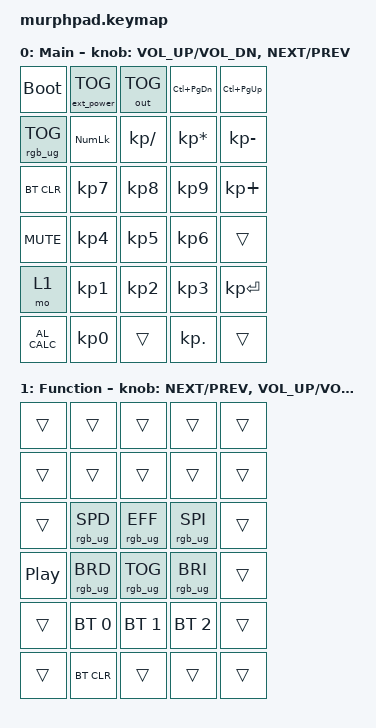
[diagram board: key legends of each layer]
/*
 * Copyright (c) 2021 The ZMK Contributors
 *
 * SPDX-License-Identifier: MIT
 */

#include <behaviors.dtsi>
#include <dt-bindings/zmk/keys.h>
#include <dt-bindings/zmk/bt.h>
#include <dt-bindings/zmk/rgb.h>
#include <dt-bindings/zmk/outputs.h>
#include <dt-bindings/zmk/ext_power.h>

#define TIMEOUT 300

&encoder_1 {
    status = "okay";
};

&encoder_2 {
    status = "okay";
};

/ {
    sensors {
        compatible = "zmk,keymap-sensors";
        sensors = <&encoder_1 &encoder_2>;
    };

    keymap0: keymap {
        compatible = "zmk,keymap";

        default_layer {
            label = "Main";
            bindings = <
                &bootloader         &ext_power EP_TOG  &out OUT_TOG    &kp LC(PG_DN)     &kp LC(PG_UP)  
                &rgb_ug RGB_TOG     &kp KP_NUM         &kp KP_DIVIDE   &kp KP_MULTIPLY   &kp KP_MINUS    
                &bt BT_CLR          &kp KP_N7          &kp KP_N8       &kp KP_N9         &kp KP_PLUS   
                &kp C_MUTE          &kp KP_N4          &kp KP_N5       &kp KP_N6         &trans  
                &mo 1               &kp KP_N1          &kp KP_N2       &kp KP_N3         &kp KP_ENTER    
                &kp C_AL_CALC       &kp KP_N0          &trans          &kp KP_DOT        &trans  
            >;
            sensor-bindings = <&inc_dec_kp C_VOL_UP C_VOL_DN &inc_dec_kp C_NEXT C_PREV>;

        }; 
        
        fn_layer {
            label = "Function";
            bindings = <
                &trans      &trans          &trans             &trans          &trans 
                &trans      &trans          &trans             &trans          &trans     
                &trans      &rgb_ug RGB_SPD &rgb_ug RGB_EFF    &rgb_ug RGB_SPI &trans     
                &kp C_PP    &rgb_ug RGB_BRD &rgb_ug RGB_TOG    &rgb_ug RGB_BRI &trans     
                &trans      &bt BT_SEL 0    &bt BT_SEL 1       &bt BT_SEL 2    &trans     
                &trans      &bt BT_CLR      &trans             &trans          &trans     
            >;  
            sensor-bindings = <&inc_dec_kp C_NEXT C_PREV &inc_dec_kp C_VOL_UP C_VOL_DN>;
           
        };
    };
};
